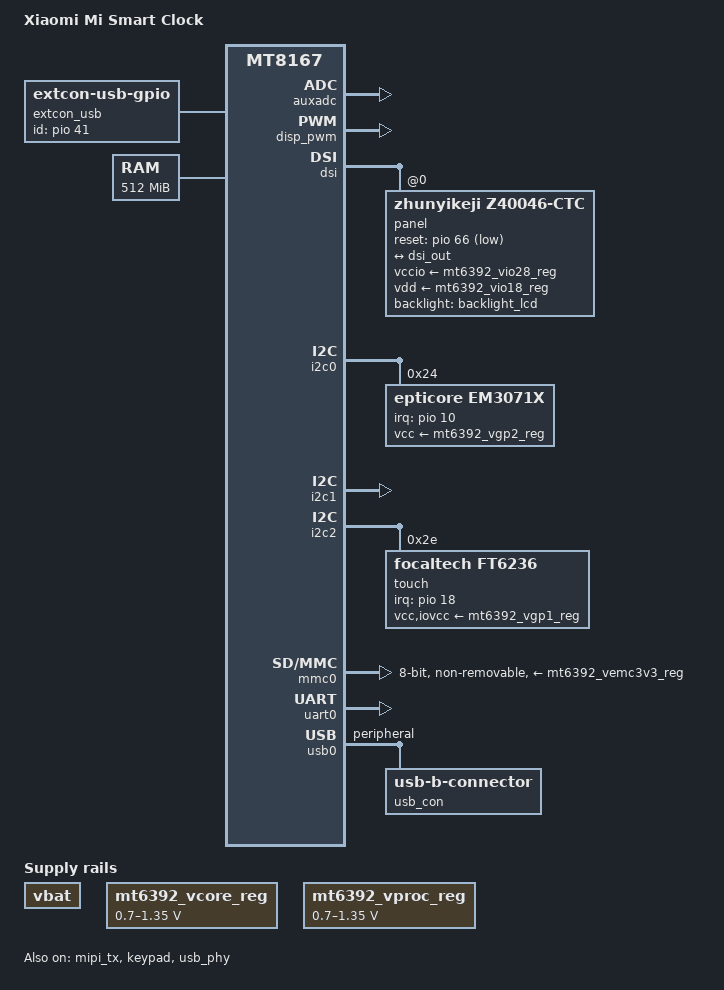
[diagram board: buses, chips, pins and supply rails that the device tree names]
// SPDX-License-Identifier: GPL-2.0
/*
 * Copyright (c) 2025 FIXME
 */
/dts-v1/;
#include <dt-bindings/gpio/gpio.h>
#include <dt-bindings/input/linux-event-codes.h>
#include "mt8167.dtsi"
#include "mt6392.dtsi"

/ {
	model = "Xiaomi Mi Smart Clock";
	chassis-type = "embedded";
	compatible = "xiaomi,x04g", "mediatek,mt8167";

	aliases {
		serial0 = &uart0;
	};

	chosen {
		#address-cells = <2>;
		#size-cells = <2>;
		bootargs = "console=tty0 console=ttyS0,921600n1 earlycon=uart8250,mmio32,0x11005000 PMOS_NOSPLASH";
		ranges;

		stdout-path = &framebuffer0;

		framebuffer0: framebuffer@7f1c0000 {
			compatible = "simple-framebuffer";
			reg = <0x0 0x7f1c0000 0x0 (800 * 480 * 4)>;
			width = <480>;
			height = <800>;
			stride = <(480 * 4)>;
			format = "a8r8g8b8";
			display = <&dsi>; /* hmm */
		};
	};

	extcon_usb: extcon_iddig {
		compatible = "linux,extcon-usb-gpio";
		id-gpios = <&pio 41 GPIO_ACTIVE_HIGH>;
	};

	memory@40000000 {
		device_type = "memory";
		reg = <0 0x40000000 0 0x20000000>;
	};

	reserved-memory {
		#address-cells = <2>;
		#size-cells = <2>;
		ranges;

		atf-reserved-memory {
			reg = <0x00 0x54600000 0x00 0x30000>;
			no-map;
		};

		consys-reserve-memory {
			size = <0x00 0x200000>;
			alignment = <0x00 0x200000>;
			no-map;
		};
	};

	vbat: regulator-vbat-sys {
		compatible = "regulator-fixed";
		regulator-name = "vbat";
		regulator-always-on;
		regulator-boot-on;
	};
};

&auxadc {
	status = "okay";
};

/* With the firmware on Android devices, cores don't seem to come back after out
   idle/unplug (though initial SMP boot is fine) */

&cpu0 {
	/delete-property/ cpu-idle-states;
	proc-supply = <&mt6392_vproc_reg>;
};

&cpu1 {
	/delete-property/ cpu-idle-states;
	proc-supply = <&mt6392_vproc_reg>;
};

&cpu2 {
	/delete-property/ cpu-idle-states;
	proc-supply = <&mt6392_vproc_reg>;
};

&cpu3 {
	/delete-property/ cpu-idle-states;
	proc-supply = <&mt6392_vproc_reg>;
};

&disp_pwm {
	status = "okay";
};

&mipi_tx {
	status = "okay";
};

&dsi {
	status = "okay";

	panel: panel@0 {
		reg = <0>;
		compatible = "zhunyikeji,z40046-ctc", "jadard,jd9365da-h3";

		pinctrl-names = "default";
		pinctrl-0 = <&panel_pins>;

		backlight = <&backlight_lcd>;
		reset-gpios = <&pio 66 GPIO_ACTIVE_LOW>;
		rotation = <270>;
		vccio-supply = <&mt6392_vio28_reg>;
		vdd-supply = <&mt6392_vio18_reg>;

		port {
			panel_in: endpoint {
				remote-endpoint = <&dsi_out>;
			};
		};
	};
};

&dsi_out {
	remote-endpoint = <&panel_in>;
};

&i2c0 {
	pinctrl-names = "default";
	pinctrl-0 = <&i2c_pins_0>;
	clock-div = <1>;
	status = "okay";

	/* Ambient light/presence sensor is Epticore EM30719,
	   driver is epticore,em3071x, provided by CONFIG_EM3071X. */
	em3071x@24 {
		reg = <0x24>;
		compatible = "epticore,em3071x";

		interrupt-parent = <&pio>;
		interrupts = <10 IRQ_TYPE_LEVEL_LOW>;
		vcc-supply = <&mt6392_vgp2_reg>;
	};
};

&i2c1 {
	pinctrl-names = "default";
	pinctrl-0 = <&i2c_pins_1>;
	status = "okay";

	/* es7243 mi,es7243 @ 13 */
};

&i2c2 {
	pinctrl-names = "default";
	pinctrl-0 = <&i2c_pins_2>;
	status = "okay";

	/* Touch panel controller is Chipsemi CHSC6440, stock calls it tlsc6x_touch,
	   driver is compatible with FT6236, provided by CONFIG_TOUCHSCREEN_EDT_FT5X06. 
	   The very similar Lenovo Smart Clock sources actually point to focaltech,ft6336,
	   however this variant is not supported upstream yet. */
	touch@2e {
		reg = <0x2e>;
		compatible = "focaltech,ft6236";

		interrupt-parent = <&pio>;
		interrupts = <18 IRQ_TYPE_EDGE_FALLING>;
		vcc-supply = <&mt6392_vgp1_reg>;
		iovcc-supply = <&mt6392_vgp1_reg>;

		touchscreen-size-x = <480>;
		touchscreen-size-y = <800>;

		wakeup-source;
	};
};

&keypad {
	status = "okay";
	debounce-delay-ms = <32>;
	
	pinctrl-names = "default";
	pinctrl-0 = <&keypad_pins>;

	keypad,num-rows = <1>;
	keypad,num-columns = <1>;
	linux,keymap = <MATRIX_KEY(0x00, 0x00, KEY_VOLUMEUP)>;
	mediatek,keys-per-group = <1>;
};

&mmc0 {
	status = "okay";

	pinctrl-names = "default", "state_uhs";
	pinctrl-0 = <&mmc0_pins_default>;
	pinctrl-1 = <&mmc0_pins_uhs>;

	bus-width = <8>;
	max-frequency = <200000000>;
	cap-mmc-highspeed;
	mmc-hs200-1_8v;
	cap-mmc-hw-reset;
	non-removable;

	vmmc-supply = <&mt6392_vemc3v3_reg>;
	vqmmc-supply = <&mt6392_vio18_reg>;
};

&pio {
	i2c_pins_0: i2c0-pins {
		pins_i2c {
			bias-disable;
			pinmux = <MT8167_PIN_58_SDA0__FUNC_SDA0_0>,
				 <MT8167_PIN_59_SCL0__FUNC_SCL0_0>;
		};
	};

	i2c_pins_1: i2c1-pins {
		pins_i2c {
			bias-disable;
			pinmux = <MT8167_PIN_52_SDA1__FUNC_SDA1_0>,
				 <MT8167_PIN_53_SCL1__FUNC_SCL1_0>;
		};
	};

	i2c_pins_2: i2c2-pins {
		pins_i2c {
			bias-disable;
			pinmux = <MT8167_PIN_60_SDA2__FUNC_SDA2_0>,
				 <MT8167_PIN_61_SCL2__FUNC_SCL2_0>;
		};
	};

	keypad_pins: keypad-pins {
		pins_cols {
			bias-pull-up = <MTK_PUPD_SET_R1R0_01>;
			input-enable;
			pinmux = <MT8167_PIN_42_KPCOL0__FUNC_KPCOL0>;
		};
	};

	mmc0_pins_default: mmc0-default-pins {
		pins_cmd_dat {
			pinmux = <MT8167_PIN_120_MSDC0_DAT0__FUNC_MSDC0_DAT0>,
				 <MT8167_PIN_119_MSDC0_DAT1__FUNC_MSDC0_DAT1>,
				 <MT8167_PIN_118_MSDC0_DAT2__FUNC_MSDC0_DAT2>,
				 <MT8167_PIN_117_MSDC0_DAT3__FUNC_MSDC0_DAT3>,
				 <MT8167_PIN_113_MSDC0_DAT4__FUNC_MSDC0_DAT4>,
				 <MT8167_PIN_112_MSDC0_DAT5__FUNC_MSDC0_DAT5>,
				 <MT8167_PIN_111_MSDC0_DAT6__FUNC_MSDC0_DAT6>,
				 <MT8167_PIN_110_MSDC0_DAT7__FUNC_MSDC0_DAT7>,
				 <MT8167_PIN_115_MSDC0_CMD__FUNC_MSDC0_CMD>;
			bias-pull-up;
		};

		pins_clk {
			pinmux = <MT8167_PIN_116_MSDC0_CLK__FUNC_MSDC0_CLK>;
			bias-pull-down;
		};

		pins_rst {
			pinmux = <MT8167_PIN_114_MSDC0_RSTB__FUNC_MSDC0_RSTB>;
			bias-pull-up;
		};
	};

	mmc0_pins_uhs: mmc0-uhs-pins {
		pins_cmd_dat {
			pinmux = <MT8167_PIN_120_MSDC0_DAT0__FUNC_MSDC0_DAT0>,
				 <MT8167_PIN_119_MSDC0_DAT1__FUNC_MSDC0_DAT1>,
				 <MT8167_PIN_118_MSDC0_DAT2__FUNC_MSDC0_DAT2>,
				 <MT8167_PIN_117_MSDC0_DAT3__FUNC_MSDC0_DAT3>,
				 <MT8167_PIN_113_MSDC0_DAT4__FUNC_MSDC0_DAT4>,
				 <MT8167_PIN_112_MSDC0_DAT5__FUNC_MSDC0_DAT5>,
				 <MT8167_PIN_111_MSDC0_DAT6__FUNC_MSDC0_DAT6>,
				 <MT8167_PIN_110_MSDC0_DAT7__FUNC_MSDC0_DAT7>,
				 <MT8167_PIN_115_MSDC0_CMD__FUNC_MSDC0_CMD>;
			input-enable;
			drive-strength = <MTK_DRIVE_6mA>;
			bias-pull-up = <MTK_PUPD_SET_R1R0_01>;
		};

		pins_clk {
			pinmux = <MT8167_PIN_116_MSDC0_CLK__FUNC_MSDC0_CLK>;
			drive-strength = <MTK_DRIVE_8mA>;
			bias-pull-down = <MTK_PUPD_SET_R1R0_10>;
		};

		pins_rst {
			pinmux = <MT8167_PIN_114_MSDC0_RSTB__FUNC_MSDC0_RSTB>;
			bias-pull-up;
		};
	};

	panel_pins: dsi0-pins {
		pins_rst {
			pinmux = <MT8167_PIN_66_LCM_RST__FUNC_GPIO66>;
			bias-pull-up;
		};
	};
};

&pmic {
	interrupts-extended = <&pio 28 IRQ_TYPE_LEVEL_HIGH>;

	keys {
		key-home {
			linux,keycodes = <KEY_VOLUMEDOWN>;
		};
	};
};

&uart0 {
	status = "okay";
};

&usb0 {
	status = "okay";
	dr_mode = "peripheral";
	usb-role-switch;
	
	//vusb33-supply = <&mt6392_vusb_reg>;

	usb_con: connector {
		compatible = "usb-b-connector";
		type = "micro";
	};
};

&usb_phy {
	status = "okay";
};

&mt6392regulators {
	vproc-supply = <&vbat>;
	vcore-supply = <&vbat>;
	vsys-supply = <&vbat>;
	ldo1-supply = <&vbat>;
	ldo2-supply = <&vbat>;
	ldo3-supply = <&vbat>;
};

&mt6392_vcore_reg {
	regulator-min-microvolt = <700000>;
	regulator-max-microvolt = <1350000>;
	regulator-always-on;
	regulator-boot-on;
};

&mt6392_vproc_reg {
	regulator-min-microvolt = <700000>;
	regulator-max-microvolt = <1350000>;
	regulator-always-on;
	regulator-boot-on;
};

&mt6392_vsys_reg {
	regulator-always-on;
	regulator-boot-on;
};

&mt6392_vaud28_reg {
	regulator-always-on;
	regulator-boot-on;
};

&mt6392_vxo22_reg {
	regulator-always-on;
	regulator-boot-on;
};

&mt6392_vaud22_reg {
	regulator-always-on;
	regulator-boot-on;
};

&mt6392_vadc18_reg {
	regulator-always-on;
	regulator-boot-on;
};

&mt6392_vio28_reg {
	regulator-always-on;
	regulator-boot-on;
};

&mt6392_vusb_reg {
	regulator-always-on;
	regulator-boot-on;
};

&mt6392_vmc_reg {
	regulator-boot-on;
};

&mt6392_vmch_reg {
	regulator-boot-on;
};

&mt6392_vemc3v3_reg {
	regulator-boot-on;
};

&mt6392_vm25_reg {
	regulator-always-on;
	regulator-boot-on;
};

&mt6392_vdig18_reg {
	regulator-always-on;
	regulator-boot-on;
};

&mt6392_vm_reg {
	regulator-always-on;
	regulator-boot-on;
};

&mt6392_vio18_reg {
	regulator-always-on;
	regulator-boot-on;
};

&mt6392_vrtc_reg {
	regulator-always-on;
	regulator-boot-on;
};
